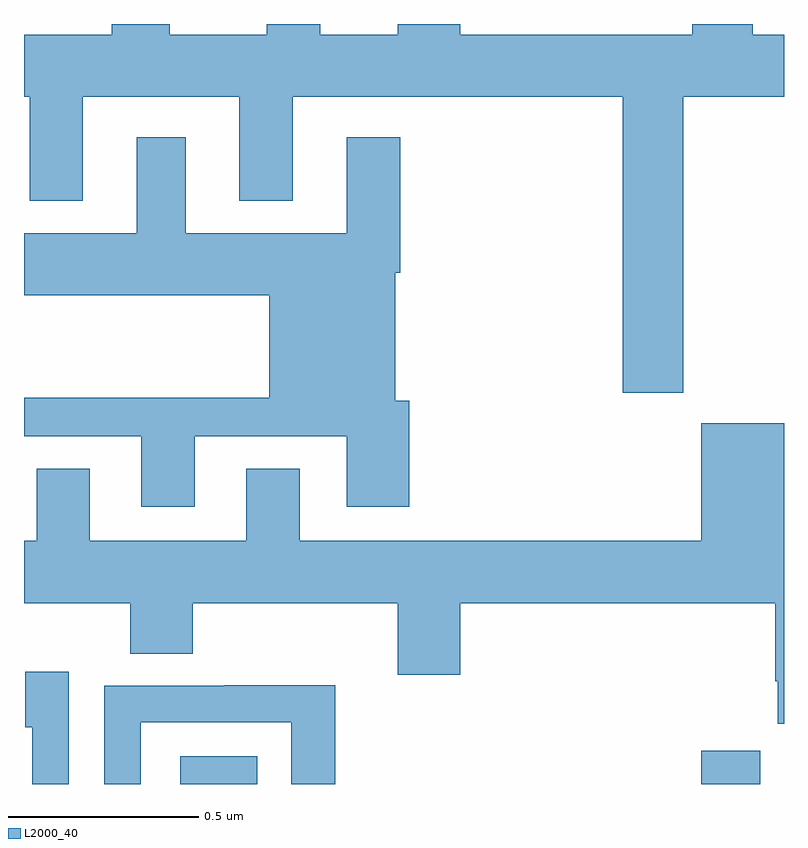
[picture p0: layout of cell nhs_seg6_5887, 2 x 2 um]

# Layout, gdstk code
import gdstk
lib = gdstk.Library(unit=1e-6, precision=1e-09)
def R(c, l, rs):  # rectangles x0, y0, x1, y1
    for r in rs: c.add(gdstk.rectangle(r[:2], r[2:], *l))
def P(c, l, *ps):  # polygons
    for p in ps: c.add(gdstk.Polygon(p, *l))
L2000_40 = (2000, 40)

nhs_seg6_5887 = lib.new_cell('nhs_seg6_5887')
R(nhs_seg6_5887, L2000_40, [(188.411,973.5,188.614,973.573), (189.782,973.5,189.937,973.588)])
P(nhs_seg6_5887, L2000_40, [(189.735,975.308),(190,975.308),(190,975.472),(189.918,975.472),(189.918,975.5),(189.758,975.5),(189.758,975.472),(189.148,975.472),(189.148,975.5),(188.984,975.5),(188.984,975.472),(188.779,975.472),(188.779,975.5),(188.639,975.5),(188.639,975.472),(188.383,975.472),(188.383,975.5),(188.231,975.5),(188.231,975.472),(188,975.472),(188,975.308),(188.015,975.308),(188.015,975.035),(188.155,975.035),(188.155,975.308),(188.567,975.308),(188.567,975.035),(188.707,975.035),(188.707,975.308),(189.575,975.308),(189.575,974.529),(189.735,974.529)],
  [(188.449,974.415),(188.849,974.415),(188.849,974.229),(189.014,974.229),(189.014,974.508),(188.977,974.508),(188.977,974.846),(188.99,974.846),(188.99,975.202),(188.849,975.202),(188.849,974.95),(188.425,974.95),(188.425,975.202),(188.297,975.202),(188.297,974.95),(188,974.95),(188,974.786),(188.645,974.786),(188.645,974.516),(188,974.516),(188,974.415),(188.309,974.415),(188.309,974.229),(188.449,974.229)],
  [(190,974.449),(189.782,974.449),(189.782,974.14),(188.725,974.14),(188.725,974.33),(188.585,974.33),(188.585,974.14),(188.173,974.14),(188.173,974.33),(188.033,974.33),(188.033,974.14),(188,974.14),(188,973.976),(188.279,973.976),(188.279,973.843),(188.444,973.843),(188.444,973.976),(188.984,973.976),(188.984,973.788),(189.148,973.788),(189.148,973.976),(189.977,973.976),(189.977,973.771),(189.983,973.771),(189.983,973.659),(190,973.659)],
  [(188.118,973.795),(188.003,973.795),(188.003,973.65),(188.022,973.65),(188.022,973.5),(188.118,973.5)],
  [(188.307,973.662),(188.703,973.662),(188.703,973.5),(188.819,973.5),(188.819,973.76),(188.527,973.76),(188.527,973.758),(188.211,973.758),(188.211,973.5),(188.307,973.5)])

lib.write_gds('nhs_seg6_5887.gds')
